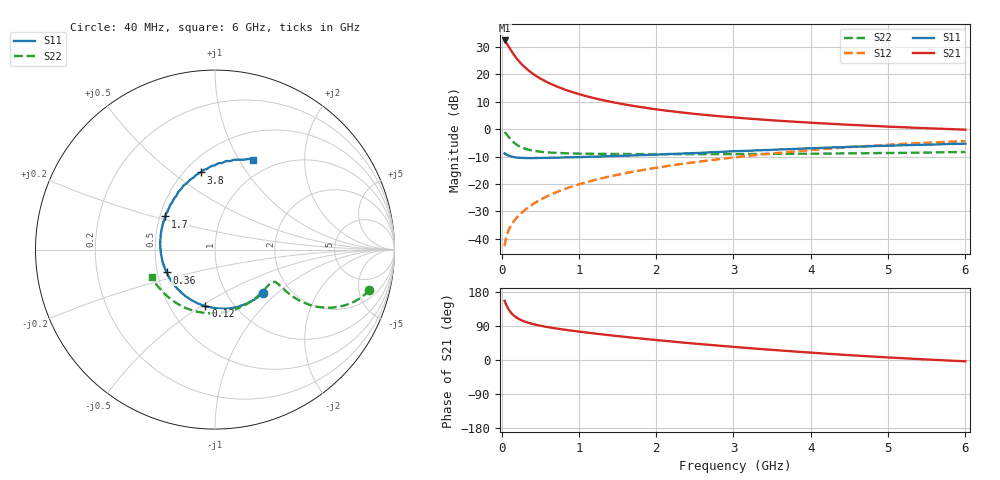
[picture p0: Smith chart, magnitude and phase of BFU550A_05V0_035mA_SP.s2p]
! Filename:  P:\Prog\Test\Noise\ATS_data\Testdata_Net\03 Spar\BFU550A_APG2013_35_C05_05p0V_035mA_SP_CM01_D.s2p
! Date/Time: Tue 16/Apr/2013 15:10:18
! BFU550A_APG2013_35_C05_05p0V_1to35mA_SP_CM01_Bias8_R.s2p
! MDIF S-parameter v. bias file
! BFU550A_APG2013_35_C05_05p0V_1to35mA_SP_CM01
! Date/time Mon Apr 15 15:41:37 2013
! VAR V_out= 5.0000
! VAR I_out= 35.0000
! VAR V_in= 0.8314
! VAR I_in= 0.3932
! Device data file deembeded for feedlines and parallel
! Original file: \03 Spar\BFU550A_APG2013_35_C05_05p0V_035mA_SP_CM01_R.s2p
! Feed-files: PR017V01_150413_Feed1.s2p, PR017V01_150413_Feed2.s2p
! Parallel-file: PR017V01_150413_Par.s2p
# MHz S MA R 50
!  Freq-MHz  S11-mag  S11-arg  S21-mag  S21-arg  S12-mag  S12-arg  S22-mag  S22-arg
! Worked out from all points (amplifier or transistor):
!   98 points, 40 MHz to 6 GHz, reference 50 ohm
!   highest |S21| = 32.4 dB at 40 MHz (marker M1)
!   |S21| within 3 dB of that: start of sweep to 109.1 MHz
!   unconditionally stable (mu >= 1): 580.9 MHz to 1.545 GHz
!   at 300 MHz: K = 0.90, MSG = 26.1 dB, |S12| = -29.5 dB
!   at 1.6 GHz: K = 1.00, MSG = 12.5 dB, |S12| = -16.1 dB
!   at 6 GHz: K = 0.88, MSG = 2.1 dB, |S12| = -4.3 dB
!   S11 on the Smith chart (normalised r, x): 40 MHz: 1.46, -0.82; 120 MHz: 0.74, -0.52; 360 MHz: 0.56, -0.16; 1.7 GHz: 0.53, +0.22; 3.8 GHz: 0.60, +0.64; 6 GHz: 0.81, +1.15
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40  0.3628 -42.3  41.8 156.1  0.00734 78.3  0.8899 -14.8
60  0.3477 -60.4  38.13 146.0  0.01044 74.5  0.8265 -20.6
80  0.3379 -76.1  34.54 137.8  0.013 72.0  0.7615 -24.8
100  0.3276 -88.6  31.01 131.1  0.01522 70.5  0.702 -27.5
120  0.3202 -99.7  27.98 125.5  0.01726 69.8  0.6505 -29.3
140  0.3146 -108.5  25.28 121.0  0.01911 69.5  0.6076 -30.4
160  0.3099 -116.1  22.93 117.2  0.02099 69.6  0.5723 -30.9
180  0.307 -122.7  20.96 114.0  0.0228 69.8  0.5421 -31.1
220  0.3026 -132.8  17.85 108.8  0.02629 70.7  0.498 -31.1
280  0.2997 -144.3  14.49 103.0  0.03159 72.1  0.4542 -30.3
360  0.2985 -154.8  11.54 97.5  0.03871 73.6  0.4203 -29.3
480  0.2997 -165.6  8.814 91.5  0.04966 75.1  0.3928 -28.4
650  0.3024 -176.5  6.619 85.1  0.06541 76.0  0.374 -28.7
850  0.3071 174.1  5.122 79.0  0.08422 76.2  0.3633 -30.5
1050  0.3118 166.3  4.188 73.7  0.1034 75.9  0.3586 -33.2
1700  0.3324 146.3  2.677 58.8  0.1676 72.6  0.3531 -45.1
2050  0.3465 137.4  2.261 51.7  0.203 70.2  0.3513 -52.6
3100  0.4003 114.0  1.605 33.0  0.3166 61.2  0.3523 -77.6
3800  0.4374 100.6  1.369 22.2  0.3942 53.8  0.357 -96.2
4100  0.4539 95.3  1.293 18.0  0.4272 50.4  0.3592 -104.1
5200  0.5122 77.9  1.088 4.6  0.5417 37.0  0.371 -134.1
6000  0.544 66.9  0.9823 -3.4  0.6069 26.8  0.3839 -156.6
